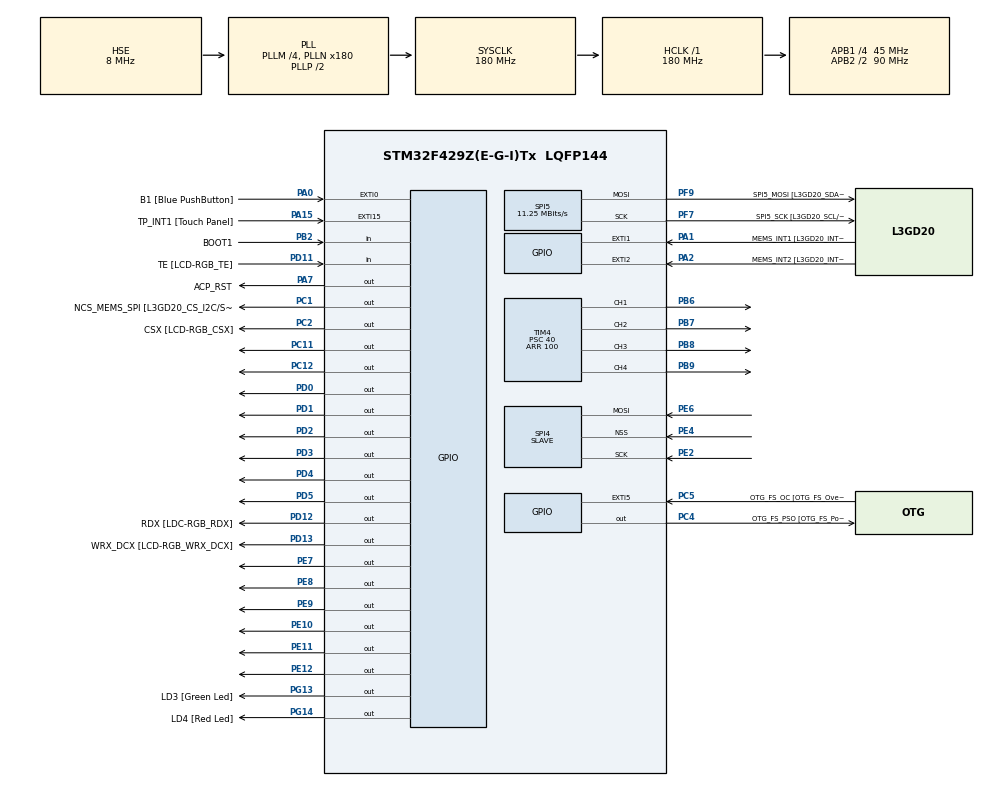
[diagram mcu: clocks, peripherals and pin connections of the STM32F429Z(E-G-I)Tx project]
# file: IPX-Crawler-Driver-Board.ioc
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Mcu.Family=STM32F4
Mcu.Name=STM32F429Z(E-G-I)Tx
Mcu.Package=LQFP144
Mcu.UserConstants=SPI4_CONST,14
NVIC.PriorityGroup=NVIC_PRIORITYGROUP_0
NVIC.SPI4_IRQn=true\:0\:0\:false\:false\:true\:true
PA0/WKUP.GPIO_Label=B1 [Blue PushButton]
PA0/WKUP.GPIO_ModeDefaultEXTI=GPIO_MODE_EVT_RISING
PA0/WKUP.GPIO_PuPd=GPIO_NOPULL
PA0/WKUP.Signal=GPXTI0
PA1.GPIO_Label=MEMS_INT1 [L3GD20_INT1]
PA1.GPIO_ModeDefaultEXTI=GPIO_MODE_EVT_RISING
PA1.GPIO_PuPd=GPIO_NOPULL
PA1.Signal=GPXTI1
PA10.GPIO_Label=STLINK_TX [STM32F103CBT6_PA2]
PA10.Signal=USART1_RX
PA11.GPIO_Label=R4
PA11.GPIO_Mode=GPIO_MODE_AF_PP
PA11.GPIO_PuPd=GPIO_NOPULL
PA11.GPIO_Speed=GPIO_SPEED_FREQ_LOW
PA11.Signal=LTDC_R4
PA12.GPIO_Label=R5
PA12.GPIO_Mode=GPIO_MODE_AF_PP
PA12.GPIO_PuPd=GPIO_NOPULL
PA12.GPIO_Speed=GPIO_SPEED_FREQ_LOW
PA12.Signal=LTDC_R5
PA13.GPIO_Label=SWDIO
PA13.Signal=SYS_JTMS-SWDIO
PA14.GPIO_Label=SWCLK
PA14.Signal=SYS_JTCK-SWCLK
PA15.GPIO_Label=TP_INT1 [Touch Panel]
PA15.GPIO_ModeDefaultEXTI=GPIO_MODE_EVT_RISING
PA15.GPIO_PuPd=GPIO_NOPULL
PA15.Signal=GPXTI15
PA2.GPIO_Label=MEMS_INT2 [L3GD20_INT2]
PA2.GPIO_ModeDefaultEXTI=GPIO_MODE_EVT_RISING
PA2.GPIO_PuPd=GPIO_NOPULL
PA2.Signal=GPXTI2
PA3.GPIO_Label=B5
PA3.GPIO_Mode=GPIO_MODE_AF_PP
PA3.GPIO_PuPd=GPIO_NOPULL
PA3.GPIO_Speed=GPIO_SPEED_FREQ_LOW
PA3.Signal=LTDC_B5
PA4.GPIO_Label=VSYNC
PA4.GPIO_Mode=GPIO_MODE_AF_PP
PA4.GPIO_PuPd=GPIO_NOPULL
PA4.GPIO_Speed=GPIO_SPEED_FREQ_LOW
PA4.Signal=LTDC_VSYNC
PA6.GPIO_Label=G2
PA6.GPIO_Mode=GPIO_MODE_AF_PP
PA6.GPIO_PuPd=GPIO_NOPULL
PA6.GPIO_Speed=GPIO_SPEED_FREQ_LOW
PA6.Signal=LTDC_G2
PA7.GPIO_Label=ACP_RST
PA7.GPIO_Mode=GPIO_MODE_OUTPUT_PP
PA7.GPIO_PuPd=GPIO_NOPULL
PA7.GPIO_Speed=GPIO_SPEED_FREQ_LOW
PA7.Signal=GPIO_Output
PA8.GPIO_Label=I2C3_SCL [ACP/RF_SCL]
PA8.GPIO_Mode=GPIO_MODE_AF_OD
PA8.GPIO_PuPd=GPIO_NOPULL
PA8.GPIO_Speed=GPIO_SPEED_FREQ_LOW
PA8.Signal=I2C3_SCL
PA9.GPIO_Label=STLINK_RX [STM32F103CBT6_PA3]
PA9.Signal=USART1_TX
PB0.GPIO_Label=R3
PB0.GPIO_Mode=GPIO_MODE_AF_PP
PB0.GPIO_PuPd=GPIO_NOPULL
PB0.GPIO_Speed=GPIO_SPEED_FREQ_LOW
PB0.Signal=LTDC_R3
PB1.GPIO_Label=R6
PB1.GPIO_Mode=GPIO_MODE_AF_PP
PB1.GPIO_PuPd=GPIO_NOPULL
PB1.GPIO_Speed=GPIO_SPEED_FREQ_LOW
PB1.Signal=LTDC_R6
PB10.GPIO_Label=G4
PB10.GPIO_Mode=GPIO_MODE_AF_PP
PB10.GPIO_PuPd=GPIO_NOPULL
PB10.GPIO_Speed=GPIO_SPEED_FREQ_LOW
PB10.Signal=LTDC_G4
PB11.GPIO_Label=G5
PB11.GPIO_Mode=GPIO_MODE_AF_PP
PB11.GPIO_PuPd=GPIO_NOPULL
PB11.GPIO_Speed=GPIO_SPEED_FREQ_LOW
PB11.Signal=LTDC_G5
PB12.GPIO_Label=OTG_FS_ID
PB12.GPIO_Mode=GPIO_MODE_AF_PP
PB12.GPIO_PuPd=GPIO_NOPULL
PB12.GPIO_Speed=GPIO_SPEED_FREQ_LOW
PB12.Signal=USB_OTG_HS_ID
PB13.GPIO_Label=VBUS_FS
PB13.GPIO_Mode=GPIO_MODE_INPUT
PB13.GPIO_PuPd=GPIO_NOPULL
PB13.Signal=USB_OTG_HS_VBUS
PB14.GPIO_Label=OTG_FS_DM
PB14.GPIO_Mode=GPIO_MODE_AF_PP
PB14.GPIO_PuPd=GPIO_NOPULL
PB14.GPIO_Speed=GPIO_SPEED_FREQ_LOW
PB14.Signal=USB_OTG_HS_DM
PB15.GPIO_Label=OTG_FS_DP
PB15.GPIO_Mode=GPIO_MODE_AF_PP
PB15.GPIO_PuPd=GPIO_NOPULL
PB15.GPIO_Speed=GPIO_SPEED_FREQ_LOW
PB15.Signal=USB_OTG_HS_DP
PB2/BOOT1.GPIO_Label=BOOT1
PB2/BOOT1.GPIO_Mode=GPIO_MODE_INPUT
PB2/BOOT1.GPIO_PuPd=GPIO_NOPULL
PB2/BOOT1.Signal=GPIO_Input
PB5.GPIO_Label=SDCKE1
PB5.GPIO_Mode=GPIO_MODE_AF_PP
PB5.GPIO_PuPd=GPIO_NOPULL
PB5.GPIO_Speed=GPIO_SPEED_FREQ_VERY_HIGH
PB5.Signal=FMC_SDCKE1
PB6.Signal=S_TIM4_CH1
PB7.Signal=S_TIM4_CH2
PB8.Signal=S_TIM4_CH3
PB9.Signal=S_TIM4_CH4
PC0.GPIO_Label=SDNWE
PC0.GPIO_Mode=GPIO_MODE_AF_PP
PC0.GPIO_PuPd=GPIO_NOPULL
PC0.GPIO_Speed=GPIO_SPEED_FREQ_VERY_HIGH
PC0.Signal=FMC_SDNWE
PC1.GPIO_Label=NCS_MEMS_SPI [L3GD20_CS_I2C/SPI]
PC1.GPIO_Mode=GPIO_MODE_OUTPUT_PP
PC1.GPIO_PuPd=GPIO_NOPULL
PC1.GPIO_Speed=GPIO_SPEED_FREQ_LOW
PC1.Signal=GPIO_Output
PC10.GPIO_Label=R2
PC10.GPIO_Mode=GPIO_MODE_AF_PP
PC10.GPIO_PuPd=GPIO_NOPULL
PC10.GPIO_Speed=GPIO_SPEED_FREQ_LOW
PC10.Signal=LTDC_R2
PC11.Signal=GPIO_Output
PC12.Signal=GPIO_Output
PC14/OSC32_IN.GPIO_Label=PC14-OSC32_IN
PC14/OSC32_IN.Signal=RCC_OSC32_IN
PC15/OSC32_OUT.GPIO_Label=PC15-OSC32_OUT
PC15/OSC32_OUT.Signal=RCC_OSC32_OUT
PC2.GPIO_Label=CSX [LCD-RGB_CSX]
PC2.GPIO_Mode=GPIO_MODE_OUTPUT_PP
PC2.GPIO_PuPd=GPIO_NOPULL
PC2.GPIO_Speed=GPIO_SPEED_FREQ_LOW
PC2.Signal=GPIO_Output
PC4.GPIO_Label=OTG_FS_PSO [OTG_FS_PowerSwitchOn]
PC4.GPIO_Mode=GPIO_MODE_OUTPUT_PP
PC4.GPIO_PuPd=GPIO_NOPULL
PC4.GPIO_Speed=GPIO_SPEED_FREQ_LOW
PC4.Signal=GPIO_Output
PC5.GPIO_Label=OTG_FS_OC [OTG_FS_OverCurrent]
PC5.GPIO_ModeDefaultEXTI=GPIO_MODE_EVT_RISING
PC5.Signal=GPXTI5
PC6.GPIO_Label=HSYNC
PC6.GPIO_Mode=GPIO_MODE_AF_PP
PC6.GPIO_PuPd=GPIO_NOPULL
PC6.GPIO_Speed=GPIO_SPEED_FREQ_LOW
PC6.Signal=LTDC_HSYNC
PC7.GPIO_Label=G6
PC7.GPIO_Mode=GPIO_MODE_AF_PP
PC7.GPIO_PuPd=GPIO_NOPULL
PC7.GPIO_Speed=GPIO_SPEED_FREQ_LOW
PC7.Signal=LTDC_G6
PC9.GPIO_Label=I2C3_SDA [ACP/RF_SDA]
PC9.GPIO_Mode=GPIO_MODE_AF_OD
PC9.GPIO_PuPd=GPIO_NOPULL
PC9.GPIO_Speed=GPIO_SPEED_FREQ_LOW
PC9.Signal=I2C3_SDA
PD0.Signal=GPIO_Output
PD1.Signal=GPIO_Output
PD10.GPIO_Label=D15
PD10.GPIO_Mode=GPIO_MODE_AF_PP
PD10.GPIO_PuPd=GPIO_NOPULL
PD10.GPIO_Speed=GPIO_SPEED_FREQ_VERY_HIGH
PD10.Signal=FMC_D15_DA15
PD11.GPIO_Label=TE [LCD-RGB_TE]
PD11.GPIO_Mode=GPIO_MODE_INPUT
PD11.GPIO_PuPd=GPIO_NOPULL
PD11.Signal=GPIO_Input
PD12.GPIO_Label=RDX [LDC-RGB_RDX]
PD12.GPIO_Mode=GPIO_MODE_OUTPUT_PP
PD12.GPIO_PuPd=GPIO_NOPULL
PD12.GPIO_Speed=GPIO_SPEED_FREQ_LOW
PD12.Signal=GPIO_Output
PD13.GPIO_Label=WRX_DCX [LCD-RGB_WRX_DCX]
PD13.GPIO_Mode=GPIO_MODE_OUTPUT_PP
PD13.GPIO_PuPd=GPIO_NOPULL
PD13.GPIO_Speed=GPIO_SPEED_FREQ_LOW
PD13.Signal=GPIO_Output
PD14.GPIO_Label=D0
PD14.GPIO_Mode=GPIO_MODE_AF_PP
PD14.GPIO_PuPd=GPIO_NOPULL
PD14.GPIO_Speed=GPIO_SPEED_FREQ_VERY_HIGH
PD14.Signal=FMC_D0_DA0
PD15.GPIO_Label=D1
PD15.GPIO_Mode=GPIO_MODE_AF_PP
PD15.GPIO_PuPd=GPIO_NOPULL
PD15.GPIO_Speed=GPIO_SPEED_FREQ_VERY_HIGH
PD15.Signal=FMC_D1_DA1
PD2.Signal=GPIO_Output
PD3.Signal=GPIO_Output
PD4.Signal=GPIO_Output
PD5.Signal=GPIO_Output
PD6.GPIO_Label=B2
PD6.GPIO_Mode=GPIO_MODE_AF_PP
PD6.GPIO_PuPd=GPIO_NOPULL
PD6.GPIO_Speed=GPIO_SPEED_FREQ_LOW
PD6.Signal=LTDC_B2
PD8.GPIO_Label=D13
PD8.GPIO_Mode=GPIO_MODE_AF_PP
PD8.GPIO_PuPd=GPIO_NOPULL
PD8.GPIO_Speed=GPIO_SPEED_FREQ_VERY_HIGH
PD8.Signal=FMC_D13_DA13
PD9.GPIO_Label=D14
PD9.GPIO_Mode=GPIO_MODE_AF_PP
PD9.GPIO_PuPd=GPIO_NOPULL
PD9.GPIO_Speed=GPIO_SPEED_FREQ_VERY_HIGH
PD9.Signal=FMC_D14_DA14
PE0.GPIO_Label=NBL0 [SDRAM_LDQM]
PE0.GPIO_Mode=GPIO_MODE_AF_PP
PE0.GPIO_PuPd=GPIO_NOPULL
PE0.GPIO_Speed=GPIO_SPEED_FREQ_VERY_HIGH
PE0.Signal=FMC_NBL0
PE1.GPIO_Label=NBL1 [SDRAM_UDQM]
PE1.GPIO_Mode=GPIO_MODE_AF_PP
PE1.GPIO_PuPd=GPIO_NOPULL
PE1.GPIO_Speed=GPIO_SPEED_FREQ_VERY_HIGH
PE1.Signal=FMC_NBL1
PE10.Signal=GPIO_Output
PE11.Signal=GPIO_Output
PE12.Signal=GPIO_Output
PE13.GPIO_Label=D10
PE13.GPIO_Mode=GPIO_MODE_AF_PP
PE13.GPIO_PuPd=GPIO_NOPULL
PE13.GPIO_Speed=GPIO_SPEED_FREQ_VERY_HIGH
PE13.Signal=FMC_D10_DA10
PE14.GPIO_Label=D11
PE14.GPIO_Mode=GPIO_MODE_AF_PP
PE14.GPIO_PuPd=GPIO_NOPULL
PE14.GPIO_Speed=GPIO_SPEED_FREQ_VERY_HIGH
PE14.Signal=FMC_D11_DA11
PE15.GPIO_Label=D12
PE15.GPIO_Mode=GPIO_MODE_AF_PP
PE15.GPIO_PuPd=GPIO_NOPULL
PE15.GPIO_Speed=GPIO_SPEED_FREQ_VERY_HIGH
PE15.Signal=FMC_D12_DA12
PE2.Mode=RX_Only_Simplex_Unidirect_Slave
PE2.Signal=SPI4_SCK
PE4.Mode=NSS_Signal_Hard_Input
PE4.Signal=SPI4_NSS
PE6.Mode=RX_Only_Simplex_Unidirect_Slave
PE6.Signal=SPI4_MOSI
PE7.Signal=GPIO_Output
PE8.Signal=GPIO_Output
PE9.Signal=GPIO_Output
PF0.GPIO_Label=A0
PF0.GPIO_Mode=GPIO_MODE_AF_PP
PF0.GPIO_PuPd=GPIO_NOPULL
PF0.GPIO_Speed=GPIO_SPEED_FREQ_VERY_HIGH
PF0.Signal=FMC_A0
PF1.GPIO_Label=A1
PF1.GPIO_Mode=GPIO_MODE_AF_PP
PF1.GPIO_PuPd=GPIO_NOPULL
PF1.GPIO_Speed=GPIO_SPEED_FREQ_VERY_HIGH
PF1.Signal=FMC_A1
PF10.GPIO_Label=ENABLE [LCD-RGB_ENABLE]
PF10.GPIO_Mode=GPIO_MODE_AF_PP
PF10.GPIO_PuPd=GPIO_NOPULL
PF10.GPIO_Speed=GPIO_SPEED_FREQ_LOW
PF10.Signal=LTDC_DE
PF11.GPIO_Label=SDNRAS
PF11.GPIO_Mode=GPIO_MODE_AF_PP
PF11.GPIO_PuPd=GPIO_NOPULL
PF11.GPIO_Speed=GPIO_SPEED_FREQ_VERY_HIGH
PF11.Signal=FMC_SDNRAS
PF12.GPIO_Label=A6
PF12.GPIO_Mode=GPIO_MODE_AF_PP
PF12.GPIO_PuPd=GPIO_NOPULL
PF12.GPIO_Speed=GPIO_SPEED_FREQ_VERY_HIGH
PF12.Signal=FMC_A6
PF13.GPIO_Label=A7
PF13.GPIO_Mode=GPIO_MODE_AF_PP
PF13.GPIO_PuPd=GPIO_NOPULL
PF13.GPIO_Speed=GPIO_SPEED_FREQ_VERY_HIGH
PF13.Signal=FMC_A7
PF14.GPIO_Label=A8
PF14.GPIO_Mode=GPIO_MODE_AF_PP
PF14.GPIO_PuPd=GPIO_NOPULL
PF14.GPIO_Speed=GPIO_SPEED_FREQ_VERY_HIGH
PF14.Signal=FMC_A8
PF15.GPIO_Label=A9
PF15.GPIO_Mode=GPIO_MODE_AF_PP
PF15.GPIO_PuPd=GPIO_NOPULL
PF15.GPIO_Speed=GPIO_SPEED_FREQ_VERY_HIGH
PF15.Signal=FMC_A9
PF2.GPIO_Label=A2
PF2.GPIO_Mode=GPIO_MODE_AF_PP
PF2.GPIO_PuPd=GPIO_NOPULL
PF2.GPIO_Speed=GPIO_SPEED_FREQ_VERY_HIGH
PF2.Signal=FMC_A2
PF3.GPIO_Label=A3
PF3.GPIO_Mode=GPIO_MODE_AF_PP
PF3.GPIO_PuPd=GPIO_NOPULL
PF3.GPIO_Speed=GPIO_SPEED_FREQ_VERY_HIGH
PF3.Signal=FMC_A3
PF4.GPIO_Label=A4
PF4.GPIO_Mode=GPIO_MODE_AF_PP
PF4.GPIO_PuPd=GPIO_NOPULL
PF4.GPIO_Speed=GPIO_SPEED_FREQ_VERY_HIGH
PF4.Signal=FMC_A4
PF5.GPIO_Label=A5
PF5.GPIO_Mode=GPIO_MODE_AF_PP
PF5.GPIO_PuPd=GPIO_NOPULL
PF5.GPIO_Speed=GPIO_SPEED_FREQ_VERY_HIGH
PF5.Signal=FMC_A5
PF7.GPIO_Label=SPI5_SCK [L3GD20_SCL/SPC]
PF7.GPIO_Mode=GPIO_MODE_AF_PP
PF7.GPIO_PuPd=GPIO_NOPULL
PF7.GPIO_Speed=GPIO_SPEED_FREQ_LOW
PF7.Mode=TX_Only_Simplex_Unidirect_Master
PF7.Signal=SPI5_SCK
PF8.GPIO_Label=SPI5_MISO [L3GD20_SDO]
PF8.GPIO_Mode=GPIO_MODE_AF_PP
PF8.GPIO_PuPd=GPIO_NOPULL
PF8.GPIO_Speed=GPIO_SPEED_FREQ_LOW
PF8.Signal=SPI5_MISO
PF9.GPIO_Label=SPI5_MOSI [L3GD20_SDA/SDI/SDO]
PF9.GPIO_Mode=GPIO_MODE_AF_PP
PF9.GPIO_PuPd=GPIO_NOPULL
PF9.GPIO_Speed=GPIO_SPEED_FREQ_LOW
PF9.Mode=TX_Only_Simplex_Unidirect_Master
PF9.Signal=SPI5_MOSI
PG0.GPIO_Label=A10
PG0.GPIO_Mode=GPIO_MODE_AF_PP
PG0.GPIO_PuPd=GPIO_NOPULL
PG0.GPIO_Speed=GPIO_SPEED_FREQ_VERY_HIGH
PG0.Signal=FMC_A10
PG1.GPIO_Label=A11
PG1.GPIO_Mode=GPIO_MODE_AF_PP
PG1.GPIO_PuPd=GPIO_NOPULL
PG1.GPIO_Speed=GPIO_SPEED_FREQ_VERY_HIGH
PG1.Signal=FMC_A11
PG10.GPIO_Label=G3
PG10.GPIO_Mode=GPIO_MODE_AF_PP
PG10.GPIO_PuPd=GPIO_NOPULL
PG10.GPIO_Speed=GPIO_SPEED_FREQ_LOW
PG10.Signal=LTDC_G3
PG11.GPIO_Label=B3
PG11.GPIO_Mode=GPIO_MODE_AF_PP
PG11.GPIO_PuPd=GPIO_NOPULL
PG11.GPIO_Speed=GPIO_SPEED_FREQ_LOW
PG11.Signal=LTDC_B3
PG12.GPIO_Label=B4
PG12.GPIO_Mode=GPIO_MODE_AF_PP
PG12.GPIO_PuPd=GPIO_NOPULL
PG12.GPIO_Speed=GPIO_SPEED_FREQ_LOW
PG12.Signal=LTDC_B4
PG13.GPIO_Label=LD3 [Green Led]
PG13.GPIO_Mode=GPIO_MODE_OUTPUT_PP
PG13.GPIO_PuPd=GPIO_NOPULL
PG13.GPIO_Speed=GPIO_SPEED_FREQ_LOW
PG13.Signal=GPIO_Output
PG14.GPIO_Label=LD4 [Red Led]
PG14.GPIO_Mode=GPIO_MODE_OUTPUT_PP
PG14.GPIO_PuPd=GPIO_NOPULL
PG14.GPIO_Speed=GPIO_SPEED_FREQ_LOW
PG14.Signal=GPIO_Output
PG15.GPIO_Label=SDNCAS
PG15.GPIO_Mode=GPIO_MODE_AF_PP
PG15.GPIO_PuPd=GPIO_NOPULL
PG15.GPIO_Speed=GPIO_SPEED_FREQ_VERY_HIGH
PG15.Signal=FMC_SDNCAS
PG4.GPIO_Label=BA0
PG4.GPIO_Mode=GPIO_MODE_AF_PP
PG4.GPIO_PuPd=GPIO_NOPULL
PG4.GPIO_Speed=GPIO_SPEED_FREQ_VERY_HIGH
PG4.Signal=FMC_A14_BA0
PG5.GPIO_Label=BA1
PG5.GPIO_Mode=GPIO_MODE_AF_PP
PG5.GPIO_PuPd=GPIO_NOPULL
PG5.GPIO_Speed=GPIO_SPEED_FREQ_VERY_HIGH
PG5.Signal=FMC_A15_BA1
PG6.GPIO_Label=R7
PG6.GPIO_Mode=GPIO_MODE_AF_PP
PG6.GPIO_PuPd=GPIO_NOPULL
PG6.GPIO_Speed=GPIO_SPEED_FREQ_LOW
PG6.Signal=LTDC_R7
PG7.GPIO_Label=DOTCLK [LCT-RGB_DOTCLK]
PG7.GPIO_Mode=GPIO_MODE_AF_PP
PG7.GPIO_PuPd=GPIO_NOPULL
PG7.GPIO_Speed=GPIO_SPEED_FREQ_LOW
PG7.Signal=LTDC_CLK
PG8.GPIO_Label=SDCLK
PG8.GPIO_Mode=GPIO_MODE_AF_PP
PG8.GPIO_PuPd=GPIO_NOPULL
PG8.GPIO_Speed=GPIO_SPEED_FREQ_VERY_HIGH
PG8.Signal=FMC_SDCLK
PH0/OSC_IN.GPIO_Label=PH0-OSC_IN
PH0/OSC_IN.Mode=HSE-External-Oscillator
PH0/OSC_IN.Signal=RCC_OSC_IN
PH1/OSC_OUT.GPIO_Label=PH1-OSC_OUT
PH1/OSC_OUT.Mode=HSE-External-Oscillator
PH1/OSC_OUT.Signal=RCC_OSC_OUT
ProjectManager.HeapSize=0x200
ProjectManager.StackSize=0x400
ProjectManager.TargetToolchain=SW4STM32
RCC.48MHZClocksFreq_Value=51428571.428571425
RCC.AHBFreq_Value=180000000
RCC.APB1CLKDivider=RCC_HCLK_DIV4
RCC.APB1Freq_Value=45000000
RCC.APB1TimFreq_Value=90000000
RCC.APB2CLKDivider=RCC_HCLK_DIV2
RCC.APB2Freq_Value=90000000
RCC.APB2TimFreq_Value=180000000
RCC.CortexFreq_Value=180000000
RCC.HCLKFreq_Value=180000000
RCC.HSE_VALUE=8000000
RCC.HSI_VALUE=16000000
RCC.LSE_VALUE=32768
RCC.PLLM=4
RCC.PLLN=180
RCC.PLLQ=7
RCC.PLLSourceVirtual=RCC_PLLSOURCE_HSE
RCC.SYSCLKFreq_VALUE=180000000
RCC.SYSCLKSource=RCC_SYSCLKSOURCE_PLLCLK
RCC.VCOOutputFreq_Value=360000000
SH.FMC_A0.0=FMC_A0
SH.FMC_A1.0=FMC_A1
SH.FMC_A10.0=FMC_A10
SH.FMC_A11.0=FMC_A11
SH.FMC_A14_BA0.0=FMC_BA0
SH.FMC_A15_BA1.0=FMC_BA1
SH.FMC_A2.0=FMC_A2
SH.FMC_A3.0=FMC_A3
SH.FMC_A4.0=FMC_A4
SH.FMC_A5.0=FMC_A5
SH.FMC_A6.0=FMC_A6
SH.FMC_A7.0=FMC_A7
SH.FMC_A8.0=FMC_A8
SH.FMC_A9.0=FMC_A9
SH.FMC_D0_DA0.0=FMC_D0
SH.FMC_D10_DA10.0=FMC_D10
SH.FMC_D11_DA11.0=FMC_D11
SH.FMC_D12_DA12.0=FMC_D12
SH.FMC_D13_DA13.0=FMC_D13
SH.FMC_D14_DA14.0=FMC_D14
SH.FMC_D15_DA15.0=FMC_D15
SH.FMC_D1_DA1.0=FMC_D1
SH.FMC_NBL0.0=FMC_NBL0
SH.FMC_NBL1.0=FMC_NBL1
SH.FMC_SDCLK.0=FMC_SDCLK
SH.FMC_SDNCAS.0=FMC_SDNCAS
SH.FMC_SDNRAS.0=FMC_SDNRAS
SH.FMC_SDNWE.0=FMC_SDNWE
SH.S_TIM4_CH1.0=TIM4_CH1,PWM Generation1 CH1
SH.S_TIM4_CH2.0=TIM4_CH2,PWM Generation2 CH2
SH.S_TIM4_CH3.0=TIM4_CH3,PWM Generation3 CH3
SH.S_TIM4_CH4.0=TIM4_CH4,PWM Generation4 CH4
SPI4.Direction=SPI_DIRECTION_2LINES_RXONLY
SPI4.Mode=SPI_MODE_SLAVE
SPI4.VirtualNSS=VM_NSSHARD
SPI4.VirtualType=VM_SLAVE
SPI5.BaudRatePrescaler=SPI_BAUDRATEPRESCALER_8
SPI5.CalculateBaudRate=11.25 MBits/s
SPI5.Direction=SPI_DIRECTION_2LINES
SPI5.Mode=SPI_MODE_MASTER
SPI5.VirtualType=VM_MASTER
TIM4.Channel-PWM\ Generation1\ CH1=TIM_CHANNEL_1
TIM4.Channel-PWM\ Generation2\ CH2=TIM_CHANNEL_2
TIM4.Channel-PWM\ Generation3\ CH3=TIM_CHANNEL_3
TIM4.Channel-PWM\ Generation4\ CH4=TIM_CHANNEL_4
TIM4.Period=100
TIM4.Prescaler=40
TIM4.Pulse-PWM\ Generation1\ CH1=0
TIM4.Pulse-PWM\ Generation2\ CH2=50
TIM4.Pulse-PWM\ Generation3\ CH3=50
TIM4.Pulse-PWM\ Generation4\ CH4=50
VP_TIM4_VS_ClockSourceINT.Mode=Internal
board=STM32F429I-DISC1

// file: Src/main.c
/**
  ******************************************************************************
  * File Name          : main.c
  * Description        : Main program body
  ******************************************************************************
  *
  * COPYRIGHT(c) 2018 STMicroelectronics
  *
  * Redistribution and use in source and binary forms, with or without modification,
  * are permitted provided that the following conditions are met:
  *   1. Redistributions of source code must retain the above copyright notice,
  *      this list of conditions and the following disclaimer.
  *   2. Redistributions in binary form must reproduce the above copyright notice,
  *      this list of conditions and the following disclaimer in the documentation
  *      and/or other materials provided with the distribution.
  *   3. Neither the name of STMicroelectronics nor the names of its contributors
  *      may be used to endorse or promote products derived from this software
  *      without specific prior written permission.
  *
  * THIS SOFTWARE IS PROVIDED BY THE COPYRIGHT HOLDERS AND CONTRIBUTORS "AS IS"
  * AND ANY EXPRESS OR IMPLIED WARRANTIES, INCLUDING, BUT NOT LIMITED TO, THE
  * IMPLIED WARRANTIES OF MERCHANTABILITY AND FITNESS FOR A PARTICULAR PURPOSE ARE
  * DISCLAIMED. IN NO EVENT SHALL THE COPYRIGHT HOLDER OR CONTRIBUTORS BE LIABLE
  * FOR ANY DIRECT, INDIRECT, INCIDENTAL, SPECIAL, EXEMPLARY, OR CONSEQUENTIAL
  * DAMAGES (INCLUDING, BUT NOT LIMITED TO, PROCUREMENT OF SUBSTITUTE GOODS OR
  * SERVICES; LOSS OF USE, DATA, OR PROFITS; OR BUSINESS INTERRUPTION) HOWEVER
  * CAUSED AND ON ANY THEORY OF LIABILITY, WHETHER IN CONTRACT, STRICT LIABILITY,
  * OR TORT (INCLUDING NEGLIGENCE OR OTHERWISE) ARISING IN ANY WAY OUT OF THE USE
  * OF THIS SOFTWARE, EVEN IF ADVISED OF THE POSSIBILITY OF SUCH DAMAGE.
  *
  ******************************************************************************
  */
#include "main.h"
#include "stm32f4xx_hal.h"
#include "spi.h"
#include "tim.h"
#include "gpio.h"

/* USER CODE BEGIN Includes */
#include "ili9341.h"
#include "tracks_driver.h"
#include "headlights_driver.h"
#include "camera_driver.h"
/* USER CODE END Includes */

/* USER CODE BEGIN PV */
/* Private variables ---------------------------------------------------------*/
uint8_t spi_buffer = 0x00;
struct ipx_spi_command {
  unsigned short id;
  unsigned short data_0;
  unsigned short data_1;
  unsigned short data_2;
  unsigned short data_3;
  unsigned short data_4;
} ipx_command;
/* USER CODE END PV */

void SystemClock_Config(void);
void Error_Handler(void);

/* USER CODE BEGIN PFP */
/* Private function prototypes -----------------------------------------------*/

/* USER CODE END PFP */

/* USER CODE BEGIN 0 */
void spi_data_handler(uint8_t spi_buffer);
void display_command_header(void);
void display_command(void);
void execute_spi_command();

unsigned short pos = 0;
/* USER CODE END 0 */

int main(void)
{

  /* MCU Configuration----------------------------------------------------------*/

  /* Reset of all peripherals, Initializes the Flash interface and the Systick. */
  HAL_Init();

  /* Configure the system clock */
  SystemClock_Config();

  /* Initialize all configured peripherals */
  MX_GPIO_Init();
  MX_SPI4_Init();
  MX_SPI5_Init();
  MX_TIM4_Init();

  /* USER CODE BEGIN 2 */

  HAL_GPIO_WritePin(GPIOG, GPIO_PIN_13, SET);
  HAL_SPI_Receive_IT(&hspi4, &spi_buffer, 1);

  TFT_init();
  TFT_on_off(0x29);
  TFT_set_rotation(LANDSCAPE_1);
  TFT_fill(Black);

  print_str(60, 0, 1, Green, Black, "ScorpionIPX Crawler Driver Board v0.0.1");

  display_command_header();
  display_command();

  init_tracks_control();
  display_tracks_info_header();
  display_tracks_info();

  light_control_check();
  init_camera_control();

  HAL_TIM_Base_Start(&htim4);
  HAL_TIM_PWM_Start(&htim4, TIM_CHANNEL_1);
  HAL_TIM_PWM_Start(&htim4, TIM_CHANNEL_2);
  HAL_TIM_PWM_Start(&htim4, TIM_CHANNEL_3);
  HAL_TIM_PWM_Start(&htim4, TIM_CHANNEL_4);
  /* USER CODE END 2 */

  /* Infinite loop */
  while (1)
  {
	  rotate_camera();
	  HAL_Delay(0.001);
  }

}

/** System Clock Configuration
*/
void SystemClock_Config(void)
{

  RCC_OscInitTypeDef RCC_OscInitStruct;
  RCC_ClkInitTypeDef RCC_ClkInitStruct;

    /**Configure the main internal regulator output voltage
    */
  __HAL_RCC_PWR_CLK_ENABLE();

  __HAL_PWR_VOLTAGESCALING_CONFIG(PWR_REGULATOR_VOLTAGE_SCALE1);

    /**Initializes the CPU, AHB and APB busses clocks
    */
  RCC_OscInitStruct.OscillatorType = RCC_OSCILLATORTYPE_HSE;
  RCC_OscInitStruct.HSEState = RCC_HSE_ON;
  RCC_OscInitStruct.PLL.PLLState = RCC_PLL_ON;
  RCC_OscInitStruct.PLL.PLLSource = RCC_PLLSOURCE_HSE;
  RCC_OscInitStruct.PLL.PLLM = 4;
  RCC_OscInitStruct.PLL.PLLN = 180;
  RCC_OscInitStruct.PLL.PLLP = RCC_PLLP_DIV2;
  RCC_OscInitStruct.PLL.PLLQ = 7;
  if (HAL_RCC_OscConfig(&RCC_OscInitStruct) != HAL_OK)
  {
    Error_Handler();
  }

    /**Activate the Over-Drive mode
    */
  if (HAL_PWREx_EnableOverDrive() != HAL_OK)
  {
    Error_Handler();
  }

    /**Initializes the CPU, AHB and APB busses clocks
    */
  RCC_ClkInitStruct.ClockType = RCC_CLOCKTYPE_HCLK|RCC_CLOCKTYPE_SYSCLK
                              |RCC_CLOCKTYPE_PCLK1|RCC_CLOCKTYPE_PCLK2;
  RCC_ClkInitStruct.SYSCLKSource = RCC_SYSCLKSOURCE_PLLCLK;
  RCC_ClkInitStruct.AHBCLKDivider = RCC_SYSCLK_DIV1;
  RCC_ClkInitStruct.APB1CLKDivider = RCC_HCLK_DIV4;
  RCC_ClkInitStruct.APB2CLKDivider = RCC_HCLK_DIV2;

  if (HAL_RCC_ClockConfig(&RCC_ClkInitStruct, FLASH_LATENCY_5) != HAL_OK)
  {
    Error_Handler();
  }

    /**Configure the Systick interrupt time
    */
  HAL_SYSTICK_Config(HAL_RCC_GetHCLKFreq()/1000);

    /**Configure the Systick
    */
  HAL_SYSTICK_CLKSourceConfig(SYSTICK_CLKSOURCE_HCLK);

  /* SysTick_IRQn interrupt configuration */
  HAL_NVIC_SetPriority(SysTick_IRQn, 0, 0);
}

/* USER CODE BEGIN 4 */
void HAL_SPI_RxCpltCallback(SPI_HandleTypeDef *hspi)
{
	HAL_GPIO_TogglePin(GPIOG, GPIO_PIN_14);
	HAL_GPIO_TogglePin(GPIOG, GPIO_PIN_13);
	HAL_SPI_Receive_IT(&hspi4, &spi_buffer, 1);

	SPI_DATA_BUFFER[SPI_DATA_INDEX] = spi_buffer;

	if(SPI_DATA_INDEX == 0)
	{
		SPI_COMMAND_ID = (SPI_DATA_BUFFER[0] & SPI_COMMAND_ID_MASK) >> SPI_COMMAND_ID_RS;
		SPI_EXTEND = (SPI_DATA_BUFFER[0] & SPI_EXTEND_MASK) >> SPI_EXTEND_RS;
		if(SPI_EXTEND)
		{
			SPI_NOB = 2;
		}
		else
		{
			SPI_NOB = 1 << (SPI_DATA_BUFFER[0] & SPI_NOB_MASK);
		}
	}

	if(SPI_DATA_INDEX == 1)
	{
		if(SPI_EXTEND)
		{
			SPI_NOB = (((SPI_DATA_BUFFER[0] & SPI_NOB_MASK) << 8) | SPI_DATA_BUFFER[1]) + 1;
		}
	}
//	display_command();

	SPI_DATA_INDEX ++;
	if(SPI_DATA_INDEX >= SPI_NOB)
	{
		SPI_DATA_INDEX = 0;  // reset SPI data buffer index
		execute_spi_command();
	}
}

void spi_data_handler(uint8_t spi_buffer)
{
	  if(spi_buffer == 0x0f)
	  {
		  HAL_GPIO_WritePin(GPIOG, GPIO_PIN_13, GPIO_PIN_SET);
		  HAL_GPIO_WritePin(GPIOG, GPIO_PIN_14, GPIO_PIN_RESET);
	  }
	  else if (spi_buffer == 0xf0)
	  {
		  HAL_GPIO_WritePin(GPIOG, GPIO_PIN_13, GPIO_PIN_RESET);
		  HAL_GPIO_WritePin(GPIOG, GPIO_PIN_14, GPIO_PIN_RESET);
	  }
	  else
	  {
		  // HAL_GPIO_WritePin(GPIOG, GPIO_PIN_14, GPIO_PIN_SET);
	  }
}

void display_command_header(void)
{
	int x = 200;
	int y = 150;
	int spacing = 8;

	print_str(x, y, 1, Green, Black, "IPX COMMAND");
	print_str(x, y + spacing, 1, Green, Black,     "CMD_ID: N/A");
	print_str(x, y + spacing * 2, 1, Green, Black, "EXTEND: N/A");
	print_str(x, y + spacing * 3, 1, Green, Black, "SPINOB: N/A");
	print_str(x, y + spacing * 4, 1, Green, Black, "SINDEX: N/A");
	print_str(x, y + spacing * 5, 1, Green, Black, "DATA_3: N/A");
	print_str(x, y + spacing * 6, 1, Green, Black, "DATA_4: N/A");
}
void display_command(void)
{
	int x = 200;
	int y = 150;
	int spacing = 8;

	print_str(x + 6 * 8, y + spacing, 1, Green, Black, Itoa(SPI_COMMAND_ID, 10, 3));
	print_str(x + 6 * 8, y + spacing * 2, 1, Green, Black, Itoa(SPI_EXTEND, 10, 3));
	print_str(x + 6 * 8, y + spacing * 3, 1, Green, Black, Itoa(SPI_NOB, 10, 3));
	print_str(x + 6 * 8, y + spacing * 4, 1, Green, Black, Itoa(SPI_DATA_INDEX, 10, 3));
	print_str(x + 6 * 8, y + spacing * 5, 1, Green, Black, Itoa(SPI_DATA_BUFFER[0], 10, 3));
	print_str(x + 6 * 8, y + spacing * 6, 1, Green, Black, Itoa(SPI_DATA_BUFFER[1], 10, 3));
}

void execute_spi_command()
{
	switch(SPI_COMMAND_ID)
	{
		case 1:
		{
			set_fl_track_dc(SPI_DATA_BUFFER[1]);
			set_fr_track_dc(SPI_DATA_BUFFER[2]);
			set_rl_track_dc(SPI_DATA_BUFFER[3]);
			set_rr_track_dc(SPI_DATA_BUFFER[4]);
			display_tracks_info();
			break;
		}

		case 2:
		{
			set_fl_track_direction(SPI_DATA_BUFFER[1]);
			set_fr_track_direction(SPI_DATA_BUFFER[2]);
			set_rl_track_direction(SPI_DATA_BUFFER[3]);
			set_rr_track_direction(SPI_DATA_BUFFER[4]);
			display_tracks_info();
			break;
		}

		case 3:
		{
			if((SPI_DATA_BUFFER[1] >> 1) & 1)
			{
				HEADLIGHT_LEFT_ON;
			}
			else
			{
				HEADLIGHT_LEFT_OFF;
			}
			if(SPI_DATA_BUFFER[1] & 1)
			{
				HEADLIGHT_RIGHT_ON;
			}
			else
			{
				HEADLIGHT_RIGHT_OFF;
			}
			break;
		}
		case 4:
		{
			unsigned int x = 10;
			unsigned int y = 100;
			unsigned short max_chars_per_row = 50;

			for(unsigned int i = 0; i < SPI_NOB - 2; i++)
			{
				if(i % max_chars_per_row == 0)
				{
					x = 10;
					y += 8;
				}
				unsigned char c = (unsigned char)(SPI_DATA_BUFFER[i+2]);
				print_char(x, y, 1, Green, Black, c);
				x += 6;
			}
			break;
		}
		case 5:
		{
			ROTATION_REQUEST = SPI_DATA_BUFFER[1];
			ROTATION_REQUEST_COUNTER = DEFAULT_ROTATION_REQUEST_COUNTER;
			break;
		}
		case 10:
		{
			drive(SPI_DATA_BUFFER[1], SPI_DATA_BUFFER[2], SPI_DATA_BUFFER[3]);
			break;
		}

		default:
		{
			break;
		}
	}
}
/* USER CODE END 4 */

void Error_Handler(void)
{
  while(1)
  {
  }
}

/************************ (C) COPYRIGHT STMicroelectronics *****END OF FILE****/
